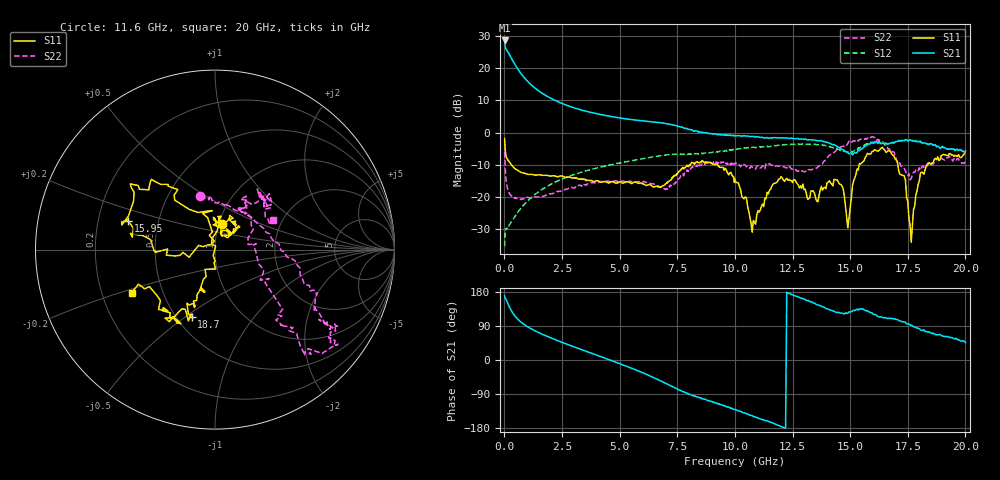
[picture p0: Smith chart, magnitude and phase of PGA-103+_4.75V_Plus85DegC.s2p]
!Mini-Circuits Laboratory
!S-Parameters, Port extension performed
!Model: PGA-103+
!Run / Lot / Date Code: N/A / BP170-001-01-101EV / 1210
!Fixture: TB-313
!Network Analyzer: PNA-X N5242A - 423 4 ports;  Serial number: 71013
!Date: 5/24/2012 at 5:35:18 PM
!S/N: Unit# 1
!Tested with: Vdd=4.75V at 85C
# Hz  S  dB  R  50
!Frequency  S11 dB  S11 Deg  S21 dB  S21 Deg  S12 dB  S12 Deg  S22 dB  S22 Deg
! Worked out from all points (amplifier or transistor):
!   660 points, 10 MHz to 20 GHz, reference 50 ohm
!   highest |S21| = 28.6 dB at 10 MHz (marker M1)
!   |S21| within 3 dB of that: start of sweep to 98.11 MHz
!   unconditionally stable (mu >= 1): 149.5 MHz to 15.21 GHz; 16.81 GHz to end of sweep
!   at 1.275 GHz: K = 1.12, MAG = 14.7 dB, |S12| = -19.5 dB
!   at 6.775 GHz: K = 1.06, MAG = 3.6 dB, |S12| = -7.1 dB
!   at 20 GHz: K = 1.48, MAG = -4.1 dB, |S12| = -5.8 dB
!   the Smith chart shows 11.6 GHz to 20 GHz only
!   S11 on the Smith chart (normalised r, x): 11.6 GHz: 1.03, +0.30; 15.95 GHz: 0.33, +0.14; 18.7 GHz: 0.59, -0.53; 20 GHz: 0.33, -0.22
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1e7  -1.81 -19.3  28.63 169.4  -35.20 71.6  -6.01 -23.4
5e7  -6.28 -34.0  26.32 162.1  -29.81 26.4  -12.58 -43.6
7e7  -7.08 -35.4  25.96 160.3  -30.08 23.2  -14.48 -41.8
2e8  -8.92 -58.8  24.46 142.1  -28.94 29.4  -18.63 -31.1
3.3e8  -10.15 -81.1  22.78 127.2  -27.35 37.8  -19.73 -28.2
5.1e8  -11.37 -105.8  20.56 112.3  -25.38 45.0  -20.42 -22.9
7.5e8  -12.40 -129.2  18.07 98.6  -23.17 49.9  -20.61 -25.5
1.125e9  -12.92 -151.3  15.12 83.6  -20.39 52.0  -20.29 -29.8
1.7e9  -13.22 -172.1  11.97 66.5  -17.31 48.8  -19.73 -45.0
3.35e9  -14.49 154.8  7.00 27.2  -12.26 27.5  -16.63 -76.8
6.675e9  -16.82 67.6  3.18 -52.0  -7.21 -37.7  -16.61 -163.0
1.005e10  -15.49 -69.0  -0.96 -131.3  -5.17 -118.2  -9.59 79.2
1.08e10  -27.23 -24.8  -1.14 -148.8  -4.47 -137.3  -10.80 87.3
1.16e10  -16.65 75.1  -1.71 -165.2  -4.30 -155.1  -10.15 106.1
1.335e10  -18.16 57.1  -2.25 153.2  -3.58 161.1  -11.38 41.5
1.445e10  -14.69 81.9  -4.36 125.0  -5.09 135.7  -4.99 -20.8
1.49e10  -29.52 118.4  -6.22 123.5  -6.04 134.8  -3.31 -31.5
1.595e10  -5.85 161.7  -3.17 124.5  -2.90 125.1  -1.26 -37.9
1.67e10  -5.55 132.2  -3.42 109.8  -3.38 109.9  -4.97 -48.4
1.765e10  -34.03 78.7  -2.40 91.3  -2.39 91.4  -14.20 19.5
1.87e10  -7.98 -109.1  -3.86 67.5  -3.90 67.5  -8.12 47.5
2e10  -5.63 -152.7  -5.80 46.1  -5.80 46.2  -8.82 26.7
